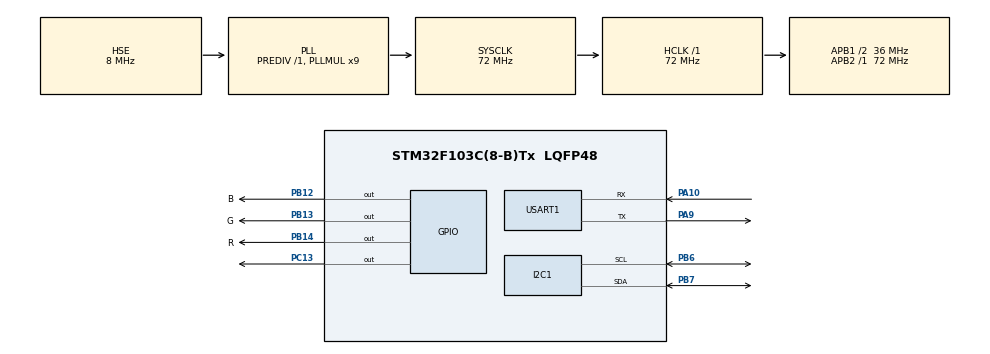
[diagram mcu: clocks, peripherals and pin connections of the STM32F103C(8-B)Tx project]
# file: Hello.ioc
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Dma.Request0=USART1_TX
Dma.Request1=USART1_RX
Dma.USART1_RX.1.Direction=DMA_PERIPH_TO_MEMORY
Dma.USART1_RX.1.Instance=DMA1_Channel5
Dma.USART1_RX.1.MemDataAlignment=DMA_MDATAALIGN_BYTE
Dma.USART1_RX.1.MemInc=DMA_MINC_ENABLE
Dma.USART1_RX.1.Mode=DMA_NORMAL
Dma.USART1_RX.1.PeriphDataAlignment=DMA_PDATAALIGN_BYTE
Dma.USART1_RX.1.PeriphInc=DMA_PINC_DISABLE
Dma.USART1_RX.1.Priority=DMA_PRIORITY_LOW
Dma.USART1_TX.0.Direction=DMA_MEMORY_TO_PERIPH
Dma.USART1_TX.0.Instance=DMA1_Channel4
Dma.USART1_TX.0.MemDataAlignment=DMA_MDATAALIGN_BYTE
Dma.USART1_TX.0.MemInc=DMA_MINC_ENABLE
Dma.USART1_TX.0.Mode=DMA_NORMAL
Dma.USART1_TX.0.PeriphDataAlignment=DMA_PDATAALIGN_BYTE
Dma.USART1_TX.0.PeriphInc=DMA_PINC_DISABLE
Dma.USART1_TX.0.Priority=DMA_PRIORITY_LOW
I2C1.I2C_Mode=I2C_Fast
Mcu.Family=STM32F1
Mcu.Name=STM32F103C(8-B)Tx
Mcu.Package=LQFP48
NVIC.DMA1_Channel4_IRQn=true\:0\:0\:false\:false\:true\:false\:true\:true
NVIC.DMA1_Channel5_IRQn=true\:0\:0\:false\:false\:true\:false\:true\:true
NVIC.PriorityGroup=NVIC_PRIORITYGROUP_4
NVIC.USART1_IRQn=true\:0\:0\:false\:false\:true\:true\:true\:true
PA10.Mode=Asynchronous
PA10.Signal=USART1_RX
PA13.Mode=Serial_Wire
PA13.Signal=SYS_JTMS-SWDIO
PA14.Mode=Serial_Wire
PA14.Signal=SYS_JTCK-SWCLK
PA9.Mode=Asynchronous
PA9.Signal=USART1_TX
PB12.GPIO_Label=B
PB12.Signal=GPIO_Output
PB13.GPIO_Label=G
PB13.Signal=GPIO_Output
PB14.GPIO_Label=R
PB14.Signal=GPIO_Output
PB6.Mode=I2C
PB6.Signal=I2C1_SCL
PB7.Mode=I2C
PB7.Signal=I2C1_SDA
PC13-TAMPER-RTC.Signal=GPIO_Output
PD0-OSC_IN.Mode=HSE-External-Oscillator
PD0-OSC_IN.Signal=RCC_OSC_IN
PD1-OSC_OUT.Mode=HSE-External-Oscillator
PD1-OSC_OUT.Signal=RCC_OSC_OUT
ProjectManager.HeapSize=0x200
ProjectManager.StackSize=0x400
ProjectManager.TargetToolchain=STM32CubeIDE
RCC.AHBFreq_Value=72000000
RCC.APB1CLKDivider=RCC_HCLK_DIV2
RCC.APB1Freq_Value=36000000
RCC.APB1TimFreq_Value=72000000
RCC.APB2Freq_Value=72000000
RCC.APB2TimFreq_Value=72000000
RCC.HCLKFreq_Value=72000000
RCC.PLLMUL=RCC_PLL_MUL9
RCC.PLLSourceVirtual=RCC_PLLSOURCE_HSE
RCC.SYSCLKFreq_VALUE=72000000
RCC.SYSCLKSource=RCC_SYSCLKSOURCE_PLLCLK
RCC.USBFreq_Value=72000000
USART1.VirtualMode=VM_ASYNC
board=custom

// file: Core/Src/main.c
/* USER CODE BEGIN Header */
/**
 ******************************************************************************
 * @file           : main.c
 * @brief          : Main program body
 ******************************************************************************
 * @attention
 *
 * Copyright (c) 2024 STMicroelectronics.
 * All rights reserved.
 *
 * This software is licensed under terms that can be found in the LICENSE file
 * in the root directory of this software component.
 * If no LICENSE file comes with this software, it is provided AS-IS.
 *
 ******************************************************************************
 */
/* USER CODE END Header */
#include "main.h"
#include "dma.h"
#include "i2c.h"
#include "usart.h"
#include "gpio.h"

/* USER CODE BEGIN Includes */
#include <string.h>
#include <stdio.h>
#include "ttllight.h"
#include "dh11.h"
#include "oled.h"
/* USER CODE END Includes */

void SystemClock_Config(void);

/* USER CODE BEGIN 0 */
char msg[] = "SYS.OK.";
uint8_t respose[90];
void HAL_UARTEx_RxEventCallback(UART_HandleTypeDef *huart, uint16_t Size) {
	if (huart == &huart1) {
		if (respose[0] == 'R') {
			HAL_GPIO_TogglePin(GPIOA, R_Pin);
		} else if (respose[0] == 'G') {
			HAL_GPIO_TogglePin(GPIOA, G_Pin);
		} else if (respose[0] == 'B') {
			HAL_GPIO_TogglePin(GPIOA, B_Pin);
		}
		HAL_UART_Transmit_DMA(&huart1, (uint8_t*) msg, 2);
		HAL_UARTEx_ReceiveToIdle_DMA(&huart1, respose, sizeof(respose));
//		__HAL_DMA_DISABLE_IT(&hdma_usart1_rx, DMA_IT_HT);
	}
}

/* USER CODE END 0 */

int main(void)
{

  /* MCU Configuration--------------------------------------------------------*/

  /* Reset of all peripherals, Initializes the Flash interface and the Systick. */
  HAL_Init();

  /* Configure the system clock */
  SystemClock_Config();

  /* Initialize all configured peripherals */
  MX_GPIO_Init();
  MX_DMA_Init();
  MX_USART1_UART_Init();
  MX_I2C1_Init();
  /* USER CODE BEGIN 2 */
	HAL_UARTEx_ReceiveToIdle_DMA(&huart1, respose, sizeof(respose));
//	__HAL_DMA_DISABLE_IT(&hdma_usart1_rx, DMA_IT_HT);
	startTTLLight();
	HAL_UART_Transmit_DMA(&huart1, (uint8_t*) msg, strlen(msg));
	HAL_Delay(500);
	OLED_Init();
  /* USER CODE END 2 */

  /* Infinite loop */
  /* USER CODE BEGIN WHILE */
	while (1) {
		GET_DH11_MSG();
		HAL_GPIO_WritePin(GPIOC, GPIO_PIN_13, SET);
//		for(uint8_t i = 0; i < 64; i++){
//			OLED_NewFrame();
//			OLED_DrawCircle(64, 32, i, OLED_COLOR_NORMAL);
//			OLED_DrawCircle(64, 32, 2*i, OLED_COLOR_NORMAL);
//			OLED_DrawCircle(64, 32, 3*i, OLED_COLOR_NORMAL);
//			OLED_PrintString(64-2*i, 10, "test9257", &font16x16, OLED_COLOR_NORMAL);
//			OLED_ShowFrame();
//		}
    /* USER CODE END WHILE */

	}
}

void SystemClock_Config(void)
{
  RCC_OscInitTypeDef RCC_OscInitStruct = {0};
  RCC_ClkInitTypeDef RCC_ClkInitStruct = {0};

  /** Initializes the RCC Oscillators according to the specified parameters
  * in the RCC_OscInitTypeDef structure.
  */
  RCC_OscInitStruct.OscillatorType = RCC_OSCILLATORTYPE_HSE;
  RCC_OscInitStruct.HSEState = RCC_HSE_ON;
  RCC_OscInitStruct.HSEPredivValue = RCC_HSE_PREDIV_DIV1;
  RCC_OscInitStruct.HSIState = RCC_HSI_ON;
  RCC_OscInitStruct.PLL.PLLState = RCC_PLL_ON;
  RCC_OscInitStruct.PLL.PLLSource = RCC_PLLSOURCE_HSE;
  RCC_OscInitStruct.PLL.PLLMUL = RCC_PLL_MUL9;
  if (HAL_RCC_OscConfig(&RCC_OscInitStruct) != HAL_OK)
  {
    Error_Handler();
  }

  /** Initializes the CPU, AHB and APB buses clocks
  */
  RCC_ClkInitStruct.ClockType = RCC_CLOCKTYPE_HCLK|RCC_CLOCKTYPE_SYSCLK
                              |RCC_CLOCKTYPE_PCLK1|RCC_CLOCKTYPE_PCLK2;
  RCC_ClkInitStruct.SYSCLKSource = RCC_SYSCLKSOURCE_PLLCLK;
  RCC_ClkInitStruct.AHBCLKDivider = RCC_SYSCLK_DIV1;
  RCC_ClkInitStruct.APB1CLKDivider = RCC_HCLK_DIV2;
  RCC_ClkInitStruct.APB2CLKDivider = RCC_HCLK_DIV1;

  if (HAL_RCC_ClockConfig(&RCC_ClkInitStruct, FLASH_LATENCY_2) != HAL_OK)
  {
    Error_Handler();
  }
}

void Error_Handler(void)
{
	__disable_irq();
	while (1) {
	}
}
